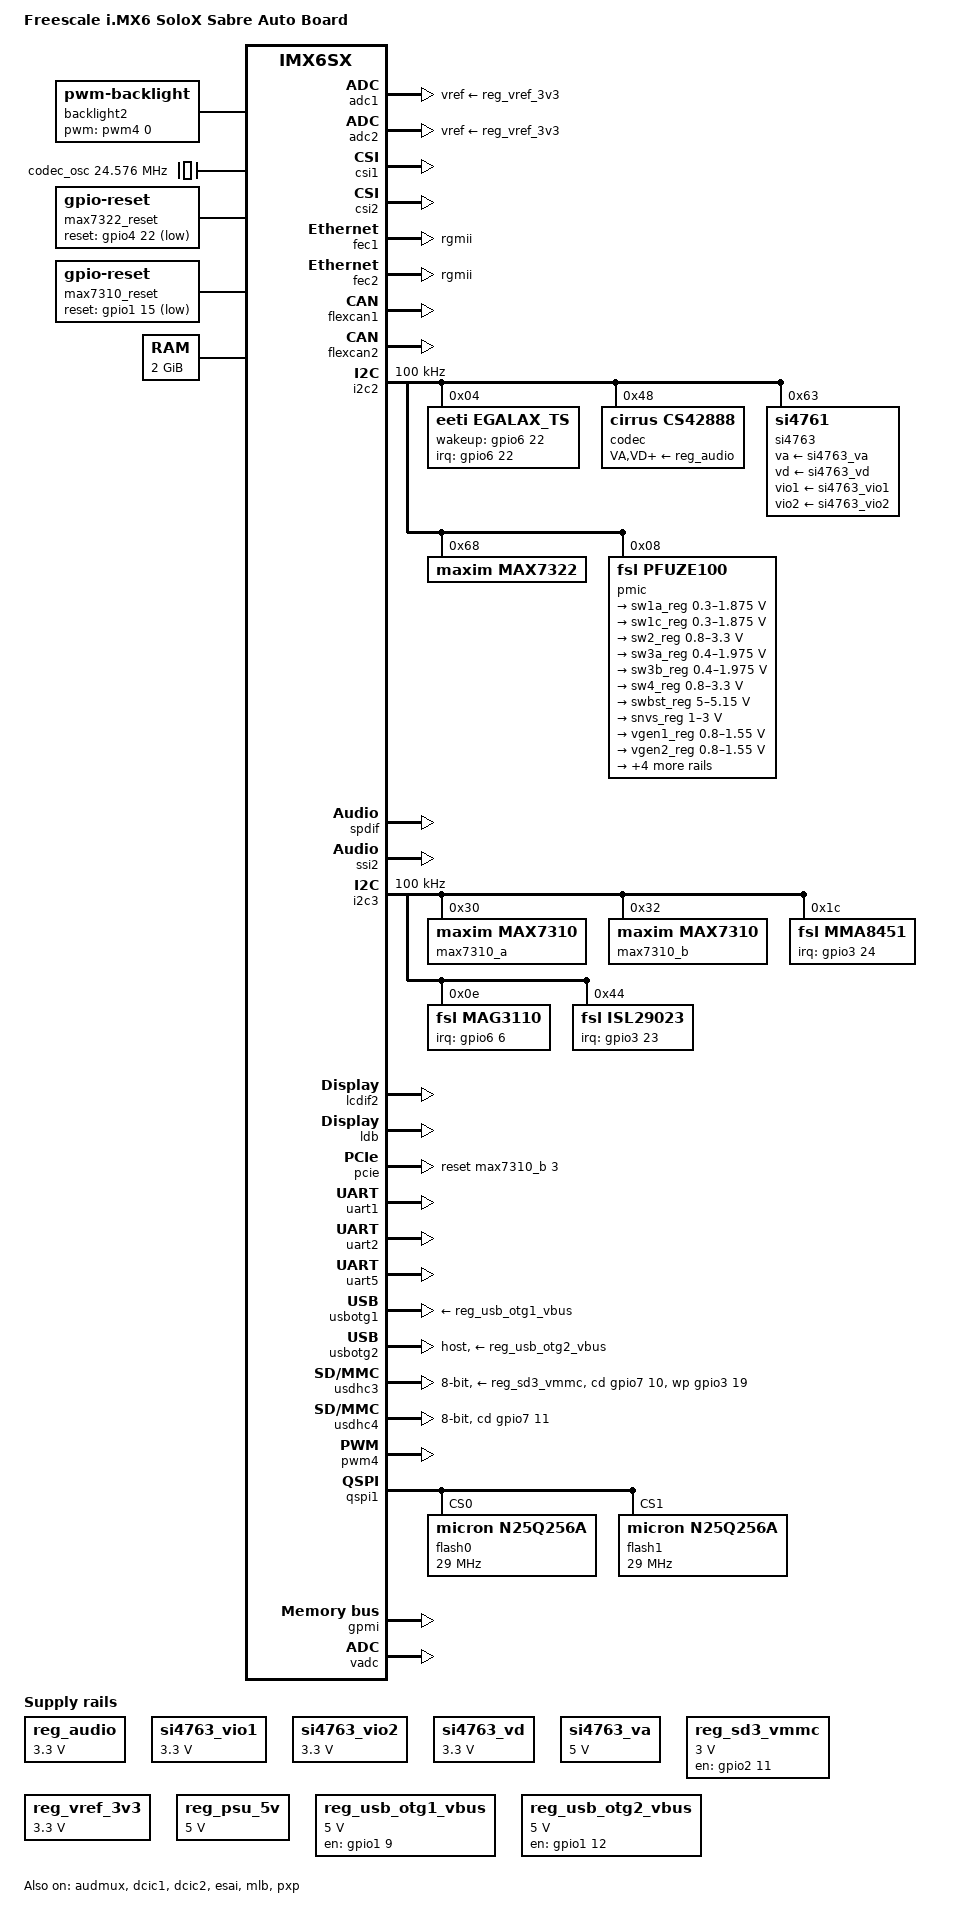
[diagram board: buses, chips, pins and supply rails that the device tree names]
/*
 * Copyright (C) 2014 Freescale Semiconductor, Inc.
 *
 * This program is free software; you can redistribute it and/or modify
 * it under the terms of the GNU General Public License version 2 as
 * published by the Free Software Foundation.
 */

/dts-v1/;

#include "imx6sx.dtsi"

/ {
	model = "Freescale i.MX6 SoloX Sabre Auto Board";
	compatible = "fsl,imx6sx-sabreauto", "fsl,imx6sx";

	backlight2 {
		compatible = "pwm-backlight";
		pwms = <&pwm4 0 5000000>;
		brightness-levels = <0 4 8 16 32 64 128 255>;
		default-brightness-level = <6>;
		fb-names = "mxs-lcdif1";
	};

	clocks {
	        codec_osc: anaclk2 {
		        #clock-cells = <0>;
		        compatible = "fixed-clock";
		        clock-frequency = <24576000>;
		};
	};

	max7322_reset: max7322-reset {
		compatible = "gpio-reset";
		reset-gpios = <&gpio4 22 GPIO_ACTIVE_LOW>;
		reset-delay-us = <1>;
		#reset-cells = <0>;
	};

	csi1_v4l2_cap {
		compatible = "fsl,imx6sx-csi-v4l2", "fsl,imx6sl-csi-v4l2";
		csi_id = <0>;
		status = "okay";
	};

	csi2_v4l2_cap {
		compatible = "fsl,imx6sx-csi-v4l2", "fsl,imx6sl-csi-v4l2";
		csi_id = <1>;
		status = "okay";
	};

	hannstar_cabc {
		compatible = "hannstar,cabc";

		lvds0 {
			gpios = <&max7310_a 0 GPIO_ACTIVE_HIGH>;
		};
	};

	max7310_reset: max7310-reset {
		compatible = "gpio-reset";
		reset-gpios = <&gpio1 15 GPIO_ACTIVE_LOW>;
		reset-delay-us = <1>;
		#reset-cells = <0>;
	};

	memory {
		reg = <0x80000000 0x80000000>;
	};

	pxp_v4l2_out {
		compatible = "fsl,imx6sx-pxp-v4l2", "fsl,imx6sl-pxp-v4l2";
		status = "okay";
	};

	regulators {
		compatible = "simple-bus";

		reg_audio: cs42888_supply {
			compatible = "regulator-fixed";
			regulator-name = "cs42888_supply";
			regulator-min-microvolt = <3300000>;
			regulator-max-microvolt = <3300000>;
			regulator-always-on;
		};

		si4763_vio1: vio1_tnr {
			compatible = "regulator-fixed";
			regulator-name = "vio1";
			regulator-min-microvolt = <3300000>;
			regulator-max-microvolt = <3300000>;
			regulator-always-on;
		};

		si4763_vio2: vio2_tnr {
			compatible = "regulator-fixed";
			regulator-name = "vio2";
			regulator-min-microvolt = <3300000>;
			regulator-max-microvolt = <3300000>;
			regulator-always-on;
		};

		si4763_vd: f3v3_tnr {
			compatible = "regulator-fixed";
			regulator-name = "vd";
			regulator-min-microvolt = <3300000>;
			regulator-max-microvolt = <3300000>;
			regulator-always-on;
		};

		si4763_va: f5v_tnr {
			compatible = "regulator-fixed";
			regulator-name = "va";
			regulator-min-microvolt = <5000000>;
			regulator-max-microvolt = <5000000>;
			regulator-always-on;
		};

		reg_lcd_3v3: lcd-3v3 {
			compatible = "regulator-fixed";
			regulator-name = "lcd-3v3";
			gpio = <&gpio3 27 0>;
			enable-active-high;
			status = "disabled";
		};

		reg_sd3_vmmc: sd3_vmmc{
			compatible = "regulator-fixed";
			regulator-name = "VCC_SD3";
			regulator-min-microvolt = <3000000>;
			regulator-max-microvolt = <3000000>;
			gpio = <&gpio2 11 GPIO_ACTIVE_HIGH>;
			enable-active-high;
		};

		reg_vref_3v3: regulator@0 {
			compatible = "regulator-fixed";
			regulator-name = "vref-3v3";
			regulator-min-microvolt = <3300000>;
			regulator-max-microvolt = <3300000>;
		};

		reg_psu_5v: psu_5v0 {
			compatible = "regulator-fixed";
			regulator-name = "PSU-5V0";
			regulator-min-microvolt = <5000000>;
			regulator-max-microvolt = <5000000>;
			regulator-boot-on;
		};

		reg_usb_otg1_vbus: usb_otg1_vbus {
			compatible = "regulator-fixed";
			regulator-name = "usb_otg1_vbus";
			regulator-min-microvolt = <5000000>;
			regulator-max-microvolt = <5000000>;
			gpio = <&gpio1 9 0>;
			enable-active-high;
		};

		reg_usb_otg2_vbus: usb_otg2_vbus {
			compatible = "regulator-fixed";
			regulator-name = "usb_otg2_vbus";
			regulator-min-microvolt = <5000000>;
			regulator-max-microvolt = <5000000>;
			gpio = <&gpio1 12 0>;
			enable-active-high;
		};
	};

	sound-cs42888 {
		compatible = "fsl,imx6-sabreauto-cs42888",
				"fsl,imx-audio-cs42888";
		model = "imx-cs42888";
		esai-controller = <&esai>;
		asrc-controller = <&asrc_p2p>;
		audio-codec = <&codec>;
	};

	sound-fm {
		compatible = "fsl,imx-audio-si476x",
			   "fsl,imx-tuner-si476x";
		model = "imx-radio-si4763";

		ssi-controller = <&ssi2>;
		fm-controller = <&si476x_codec>;
		mux-int-port = <2>;
		mux-ext-port = <5>;
	};

	sound-spdif {
		compatible = "fsl,imx-audio-spdif";
		model = "imx-spdif";
		spdif-controller = <&spdif>;
		spdif-in;
	};
};

&iomuxc {
	pinctrl-names = "default";
	pinctrl-0 = <&pinctrl_hog>;

	hog {
		pinctrl_hog: hoggrp {
			fsl,pins = <
				MX6SX_PAD_USB_H_STROBE__GPIO7_IO_11 0x17059
				MX6SX_PAD_USB_H_DATA__GPIO7_IO_10	0x17059
				MX6SX_PAD_LCD1_DATA18__GPIO3_IO_19	0x17059
				MX6SX_PAD_SD4_RESET_B__GPIO6_IO_22	0x80000000
				MX6SX_PAD_LCD1_DATA23__GPIO3_IO_24	0x80000000
				MX6SX_PAD_SD2_CLK__GPIO6_IO_6		0x80000000
				MX6SX_PAD_LCD1_DATA22__GPIO3_IO_23	0x80000000
				MX6SX_PAD_GPIO1_IO13__WDOG1_WDOG_ANY	0x10b0
			>;
		};
	};
};

&adc1 {
	vref-supply = <&reg_vref_3v3>;
	status = "okay";
};

&adc2 {
	vref-supply = <&reg_vref_3v3>;
	status = "okay";
};

&audmux {
	pinctrl-names = "default";
	pinctrl-0 = <&pinctrl_audmux_3>;
	status = "okay";
};

&csi1 {
	status = "okay";
};

&csi2 {
	status = "okay";
};

&dcic1 {
	dcic_id = <0>;
	dcic_mux = "dcic-lcdif1";
	status = "okay";
};

&dcic2 {
	dcic_id = <1>;
	dcic_mux = "dcic-lvds";
	status = "okay";
};

&esai {
	pinctrl-names = "default";
	pinctrl-0 = <&pinctrl_esai_2>;
	status = "okay";
};

&fec1 {
	pinctrl-names = "default";
	pinctrl-0 = <&pinctrl_enet1_1>;
	phy-mode = "rgmii";
	phy-id = <1>;
	fsl,num_tx_queues=<3>;
	fsl,num_rx_queues=<3>;
	pinctrl-assert-gpios = <&max7322 0 GPIO_ACTIVE_HIGH>;
	fsl,magic-packet;
	status = "okay";
};

&fec2 {
	pinctrl-names = "default";
	pinctrl-0 = <&pinctrl_enet2_1>;
	phy-mode = "rgmii";
	phy-id = <0>;
	fsl,num_tx_queues=<3>;
	fsl,num_rx_queues=<3>;
	fsl,magic-packet;
	status = "okay";
};

&flexcan1 {
	pinctrl-names = "default";
	pinctrl-0 = <&pinctrl_flexcan1_1>;
	trx-en-gpio = <&max7310_b 5 GPIO_ACTIVE_HIGH>;
	trx-stby-gpio = <&max7310_b 4 GPIO_ACTIVE_HIGH>;
	trx-wakeup-gpio = <&max7310_b 7 GPIO_ACTIVE_HIGH>;
	status = "okay";
};

&flexcan2 {
	pinctrl-names = "default";
	pinctrl-0 = <&pinctrl_flexcan2_1>;
	trx-en-gpio = <&max7310_b 5 GPIO_ACTIVE_HIGH>;
	trx-stby-gpio = <&max7310_b 4 GPIO_ACTIVE_HIGH>;
	trx-wakeup-gpio = <&max7310_b 7 GPIO_ACTIVE_HIGH>;
	status = "okay";
};

&gpc {
	fsl,cpu_pupscr_sw2iso = <0x2>;
	fsl,cpu_pupscr_sw = <0x1>;
	fsl,cpu_pdnscr_iso2sw = <0x1>;
	fsl,cpu_pdnscr_iso = <0x1>;
	fsl,wdog-reset = <1>; /* watchdog select of reset source */
};

&i2c2 {
        clock-frequency = <100000>;
        pinctrl-names = "default";
        pinctrl-0 = <&pinctrl_i2c2_1>;
        status = "okay";

	egalax_ts@04 {
		compatible = "eeti,egalax_ts";
		reg = <0x04>;
		interrupt-parent = <&gpio6>;
		interrupts = <22 2>;
		wakeup-gpios = <&gpio6 22 0>;
	};

	codec: cs42888@048 {
		compatible = "cirrus,cs42888";
		reg = <0x048>;
		clocks = <&codec_osc 0>;
		clock-names = "mclk";
		VA-supply = <&reg_audio>;
		VD-supply = <&reg_audio>;
		VLS-supply = <&reg_audio>;
		VLC-supply = <&reg_audio>;
	};

	si4763: si4763@63 {
		compatible = "si4761";
		reg = <0x63>;
		va-supply = <&si4763_va>;
		vd-supply = <&si4763_vd>;
		vio1-supply = <&si4763_vio1>;
		vio2-supply = <&si4763_vio2>;

		si476x_codec: si476x-codec {
			compatible = "si476x-codec";
		};
	};

	max7322: gpio@68 {
		compatible = "maxim,max7322";
		reg = <0x68>;
		gpio-controller;
		#gpio-cells = <2>;
		resets = <&max7322_reset>;
	};

	pmic: pfuze100@08 {
		compatible = "fsl,pfuze100";
		reg = <0x08>;

		regulators {
			sw1a_reg: sw1ab {
				regulator-min-microvolt = <300000>;
				regulator-max-microvolt = <1875000>;
				regulator-boot-on;
				regulator-always-on;
				regulator-ramp-delay = <6250>;
			};

			sw1c_reg: sw1c {
				regulator-min-microvolt = <300000>;
				regulator-max-microvolt = <1875000>;
				regulator-boot-on;
				regulator-always-on;
				regulator-ramp-delay = <6250>;
			};

			sw2_reg: sw2 {
				regulator-min-microvolt = <800000>;
				regulator-max-microvolt = <3300000>;
				regulator-boot-on;
				regulator-always-on;
			};

			sw3a_reg: sw3a {
				regulator-min-microvolt = <400000>;
				regulator-max-microvolt = <1975000>;
				regulator-boot-on;
				regulator-always-on;
			};

			sw3b_reg: sw3b {
				regulator-min-microvolt = <400000>;
				regulator-max-microvolt = <1975000>;
				regulator-boot-on;
				regulator-always-on;
			};

			sw4_reg: sw4 {
				regulator-min-microvolt = <800000>;
				regulator-max-microvolt = <3300000>;
			};

			swbst_reg: swbst {
				regulator-min-microvolt = <5000000>;
				regulator-max-microvolt = <5150000>;
			};

			snvs_reg: vsnvs {
				regulator-min-microvolt = <1000000>;
				regulator-max-microvolt = <3000000>;
				regulator-boot-on;
				regulator-always-on;
			};

			vref_reg: vrefddr {
				regulator-boot-on;
				regulator-always-on;
			};

			vgen1_reg: vgen1 {
				regulator-min-microvolt = <800000>;
				regulator-max-microvolt = <1550000>;
				regulator-always-on;
			};

			vgen2_reg: vgen2 {
				regulator-min-microvolt = <800000>;
				regulator-max-microvolt = <1550000>;
			};

			vgen3_reg: vgen3 {
				regulator-min-microvolt = <1800000>;
				regulator-max-microvolt = <3300000>;
				regulator-always-on;
			};

			vgen4_reg: vgen4 {
				regulator-min-microvolt = <1800000>;
				regulator-max-microvolt = <3300000>;
				regulator-always-on;
			};

			vgen5_reg: vgen5 {
				regulator-min-microvolt = <1800000>;
				regulator-max-microvolt = <3300000>;
				regulator-always-on;
			};

			vgen6_reg: vgen6 {
				regulator-min-microvolt = <1800000>;
				regulator-max-microvolt = <3300000>;
				regulator-always-on;
			};
		};
	};
};

&spdif {
	pinctrl-names = "default";
	pinctrl-0 = <&pinctrl_spdif_3>;
	status = "okay";
};

&ssi2 {
	fsl,mode = "i2s-master";
	status = "okay";
};

&i2c3 {
        clock-frequency = <100000>;
	pinctrl-names = "default";
	pinctrl-0 = <&pinctrl_i2c3_2>;
	status = "okay";

	max7310_a: gpio@30 {
		compatible = "maxim,max7310";
		reg = <0x30>;
		gpio-controller;
		#gpio-cells = <2>;
		resets = <&max7310_reset>;
	};

	max7310_b: gpio@32 {
		compatible = "maxim,max7310";
		reg = <0x32>;
		gpio-controller;
		#gpio-cells = <2>;
		resets = <&max7310_reset>;
	};

	mma8451@1c {
		compatible = "fsl,mma8451";
		reg = <0x1c>;
		position = <7>;
		interrupt-parent = <&gpio3>;
		interrupts = <24 8>;
		interrupt-route = <1>;
	};

	mag3110@0e {
		compatible = "fsl,mag3110";
		reg = <0x0e>;
		position = <2>;
		interrupt-parent = <&gpio6>;
		interrupts = <6 1>;
	};

	isl29023@44 {
		compatible = "fsl,isl29023";
		reg = <0x44>;
		rext = <499>;
		interrupt-parent = <&gpio3>;
		interrupts = <23 2>;
	};
};

&lcdif2 {
	display = <&display1>;
	disp-dev = "ldb";
	status = "okay";

	display1: display {
		bits-per-pixel = <16>;
		bus-width = <18>;
	};
};

&ldb {
	status = "okay";

	lvds-channel@0 {
		fsl,data-mapping = "spwg";
		fsl,data-width = <18>;
		crtc = "lcdif2";
		status = "okay";

		display-timings {
			native-mode = <&timing1>;
			timing1: hsd100pxn1 {
				clock-frequency = <65000000>;
				hactive = <1024>;
				vactive = <768>;
				hback-porch = <220>;
				hfront-porch = <40>;
				vback-porch = <21>;
				vfront-porch = <7>;
				hsync-len = <60>;
				vsync-len = <10>;
			};
		};
	};
};

&mlb {
	pinctrl-names = "default";
	pinctrl-0 = <&pinctrl_mlb_2>;
	status = "okay";
};

&pcie {
	reset-gpio = <&max7310_b 3 0>;
	status = "okay";
};

&uart1 {
	pinctrl-names = "default";
	pinctrl-0 = <&pinctrl_uart1_1>;
	status = "okay";
};

&uart2 {
	pinctrl-names = "default";
	pinctrl-0 = <&pinctrl_uart2_1>;
	status = "okay";
};

&uart5 { /* for bluetooth */
	pinctrl-names = "default";
	pinctrl-0 = <&pinctrl_uart5_1>;
	fsl,uart-has-rtscts;
	status = "okay";
	/* for DTE mode, add below change */
	/* fsl,dte-mode;*/
	/* pinctrl-0 = <&pinctrl_uart5dte_1>; */
};

&usbotg1 {
	vbus-supply = <&reg_usb_otg1_vbus>;
	pinctrl-names = "default";
	pinctrl-0 = <&pinctrl_usbotg1_1>;
	imx6-usb-charger-detection;
	status = "okay";
};

&usbotg2 {
	vbus-supply = <&reg_usb_otg2_vbus>;
	dr_mode = "host";
	status = "okay";
};

&usdhc3 {
	pinctrl-names = "default", "state_100mhz", "state_200mhz";
	pinctrl-0 = <&pinctrl_usdhc3_1>;
	pinctrl-1 = <&pinctrl_usdhc3_1_100mhz>;
	pinctrl-2 = <&pinctrl_usdhc3_1_200mhz>;
	bus-width = <8>;
	cd-gpios = <&gpio7 10 0>;
	wp-gpios = <&gpio3 19 0>;
	keep-power-in-suspend;
	enable-sdio-wakeup;
	vmmc-supply = <&reg_sd3_vmmc>;
	status = "okay";
};

&usdhc4 {
	pinctrl-names = "default";
	pinctrl-0 = <&pinctrl_usdhc4_3>;
	bus-width = <8>;
	cd-gpios = <&gpio7 11 0>;
	no-1-8-v;
	keep-power-in-suspend;
	enable-sdio-wakup;
	status = "okay";
};

&pwm4 {
	pinctrl-names = "default";
	pinctrl-0 = <&pinctrl_pwm4_0>;
	status = "okay";
};

&pxp {
	status = "okay";
};

&qspi1 {
	pinctrl-names = "default";
	pinctrl-0 = <&pinctrl_qspi1_1>;
	/* only map 128MB */
	reg = <0x021e0000 0x4000>, <0x60000000 0x8000000>;
	status = "okay";
	ddrsmp=<2>;

	flash0: n25q256a@0 {
		#address-cells = <1>;
		#size-cells = <1>;
		compatible = "micron,n25q256a";
		spi-max-frequency = <29000000>;
		reg = <0>;
	};

	flash1: n25q256a@1 {
		#address-cells = <1>;
		#size-cells = <1>;
		compatible = "micron,n25q256a";
		spi-max-frequency = <29000000>;
		reg = <1>;
	};
};

&gpmi {
	pinctrl-names = "default";
	pinctrl-0 = <&pinctrl_gpmi_nand_1>;
	status = "okay";
	nand-on-flash-bbt;
};

&vadc {
	vadc_in = <0>;
	csi_id = <1>;
	status = "okay";
};
